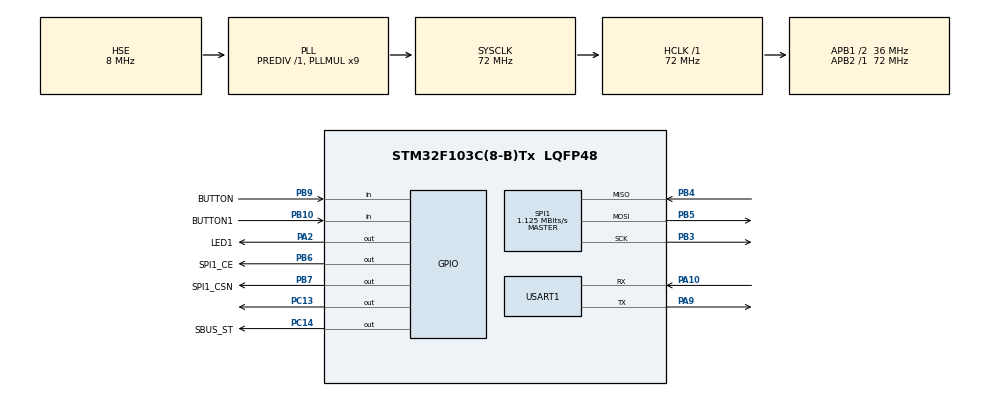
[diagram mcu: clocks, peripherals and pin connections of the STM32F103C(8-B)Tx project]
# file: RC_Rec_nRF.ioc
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Mcu.Family=STM32F1
Mcu.Name=STM32F103C(8-B)Tx
Mcu.Package=LQFP48
NVIC.PriorityGroup=NVIC_PRIORITYGROUP_4
PA10.Mode=Asynchronous
PA10.Signal=USART1_RX
PA13.Mode=Serial_Wire
PA13.Signal=SYS_JTMS-SWDIO
PA14.Mode=Serial_Wire
PA14.Signal=SYS_JTCK-SWCLK
PA2.GPIO_Label=LED1
PA2.Signal=GPIO_Output
PA9.Mode=Asynchronous
PA9.Signal=USART1_TX
PB10.GPIO_Label=BUTTON1
PB10.Signal=GPIO_Input
PB3.Mode=Full_Duplex_Master
PB3.Signal=SPI1_SCK
PB4.Mode=Full_Duplex_Master
PB4.Signal=SPI1_MISO
PB5.Mode=Full_Duplex_Master
PB5.Signal=SPI1_MOSI
PB6.GPIO_Label=SPI1_CE
PB6.Signal=GPIO_Output
PB7.GPIO_Label=SPI1_CSN
PB7.Signal=GPIO_Output
PB9.GPIO_Label=BUTTON
PB9.Signal=GPIO_Input
PC13-TAMPER-RTC.Signal=GPIO_Output
PC14-OSC32_IN.GPIO_Label=SBUS_ST
PC14-OSC32_IN.Signal=GPIO_Output
PD0-OSC_IN.Mode=HSE-External-Oscillator
PD0-OSC_IN.Signal=RCC_OSC_IN
PD1-OSC_OUT.Mode=HSE-External-Oscillator
PD1-OSC_OUT.Signal=RCC_OSC_OUT
ProjectManager.HeapSize=0x200
ProjectManager.StackSize=0x400
ProjectManager.TargetToolchain=STM32CubeIDE
RCC.AHBFreq_Value=72000000
RCC.APB1CLKDivider=RCC_HCLK_DIV2
RCC.APB1Freq_Value=36000000
RCC.APB1TimFreq_Value=72000000
RCC.APB2Freq_Value=72000000
RCC.APB2TimFreq_Value=72000000
RCC.HCLKFreq_Value=72000000
RCC.PLLMUL=RCC_PLL_MUL9
RCC.PLLSourceVirtual=RCC_PLLSOURCE_HSE
RCC.SYSCLKFreq_VALUE=72000000
RCC.SYSCLKSource=RCC_SYSCLKSOURCE_PLLCLK
RCC.USBFreq_Value=72000000
SPI1.BaudRatePrescaler=SPI_BAUDRATEPRESCALER_64
SPI1.CalculateBaudRate=1.125 MBits/s
SPI1.Direction=SPI_DIRECTION_2LINES
SPI1.Mode=SPI_MODE_MASTER
SPI1.VirtualType=VM_MASTER
TIM2.Prescaler=72-1
TIM3.Period=65535-1
TIM3.Prescaler=72-1
USART1.VirtualMode=VM_ASYNC
VP_TIM2_VS_ClockSourceINT.Mode=Internal
VP_TIM3_VS_ClockSourceINT.Mode=Internal
board=custom

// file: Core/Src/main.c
/* USER CODE BEGIN Header */
/**
  ******************************************************************************
  * @file           : main.c
  * @brief          : Main program body
  ******************************************************************************
  * @attention
  *
  * Copyright (c) 2023 STMicroelectronics.
  * All rights reserved.
  *
  * This software is licensed under terms that can be found in the LICENSE file
  * in the root directory of this software component.
  * If no LICENSE file comes with this software, it is provided AS-IS.
  *
  ******************************************************************************
  */
/* USER CODE END Header */
#include "main.h"
#include "spi.h"
#include "tim.h"
#include "usart.h"
#include "gpio.h"

/* USER CODE BEGIN Includes */
#include "MY_NRF24.h"
#include "nRF24L01.h"
#include"stdbool.h"
/* USER CODE END Includes */

/* USER CODE BEGIN PTD */
//Define structure for PWM value from TX
typedef struct{
	uint16_t ch1;
	uint16_t ch2;
	uint16_t ch3;
	uint16_t ch4;

//	uint16_t aux1;
//	uint16_t aux2;
//	uint16_t aux3;

	uint16_t swa;
	uint16_t swb;
//	uint16_t swc;
//	uint16_t swd;
//	uint16_t swe;
//	uint16_t swf;
//	uint16_t swg;
//	uint16_t swh;

}RxBufferTypedef;
/* USER CODE END PTD */

/* USER CODE BEGIN PD */
//IBUS
#define IBUS_FRAME_LENGTH			0x20
#define IBUS_COMMAND_CODE			0x40

//#define SBUS_PACKET_SIZE 25
/* USER CODE END PD */

/* USER CODE BEGIN PV */
uint64_t RxpipeAddrs = 0x11223344AA;
RxBufferTypedef Rx_Data;
uint32_t lastTime = 0;
uint32_t loop_timer;
uint8_t btn_state;
bool Is_Bind = false;
bool Is_NRF_Available = false;
bool myAckPayload = true;

//IBUS
uint8_t ibus_txBuffer[32];
uint8_t checksum[2];
uint8_t ibusEmpty =0;

//SBUS part
//uint8_t sbusBuffer[SBUS_PACKET_SIZE];
//uint16_t pwmValues[Rx_Data];
// uint16_t RxBufferTypedef[15];
//uint16_t pwmValues[16];

/* USER CODE END PV */

void SystemClock_Config(void);
/* USER CODE BEGIN PFP */
long map(long x, long in_min, long in_max, long out_min, long out_max) {
  return (x - in_min) * (out_max - out_min) / (in_max - in_min) + out_min;
}
void delayUs(uint16_t delay){
	__HAL_TIM_SET_COUNTER(&htim2,0);
	while ( __HAL_TIM_GET_COUNTER(&htim2) < delay );
}

void ibus_send(){

	uint16_t check = 0xffff;
	ibus_txBuffer[1] = IBUS_COMMAND_CODE;
	ibus_txBuffer[0] = IBUS_FRAME_LENGTH;

	ibus_txBuffer[3] = Rx_Data.ch1 >> 8;
	ibus_txBuffer[2] = Rx_Data.ch1 & 0x00FF;

	ibus_txBuffer[5] = Rx_Data.ch2 >> 8;
	ibus_txBuffer[4] = Rx_Data.ch2 & 0x00FF;

	ibus_txBuffer[7] = Rx_Data.ch3 >> 8;
	ibus_txBuffer[6] = Rx_Data.ch3 & 0x00FF;

	ibus_txBuffer[9] = Rx_Data.ch4 >> 8;
	ibus_txBuffer[8] = Rx_Data.ch4 & 0x00FF;

	ibus_txBuffer[11] = Rx_Data.swa >> 8;
	ibus_txBuffer[10] = Rx_Data.swa & 0x00FF;

	ibus_txBuffer[13] = Rx_Data.swb >> 8;
	ibus_txBuffer[12] = Rx_Data.swb & 0x0FF;

	ibus_txBuffer[15] = ibusEmpty >> 8;
	ibus_txBuffer[14] = ibusEmpty & 0x00FF;

	ibus_txBuffer[17] = ibusEmpty >> 8;
	ibus_txBuffer[16] = ibusEmpty & 0x00FF;

	ibus_txBuffer[19] = ibusEmpty >> 8;
	ibus_txBuffer[18] = ibusEmpty & 0x00FF;

	ibus_txBuffer[21] = ibusEmpty >> 8;
	ibus_txBuffer[20] = ibusEmpty & 0x00FF;

	ibus_txBuffer[23] = ibusEmpty >> 8;
	ibus_txBuffer[22] = ibusEmpty & 0x00FF;

	ibus_txBuffer[25] = ibusEmpty >> 8;
	ibus_txBuffer[24] = ibusEmpty & 0x00FF;

	ibus_txBuffer[27] = ibusEmpty >> 8;
	ibus_txBuffer[26] = ibusEmpty & 0x00FF;

	ibus_txBuffer[29] = 0x05;
	ibus_txBuffer[28] = 0xDC;

	for (uint8_t i = 0; i<30; i++){
		check = check - ibus_txBuffer[i];
	}
	ibus_txBuffer[31] = check >> 8;
	ibus_txBuffer[30] = check & 0xFFFF;
	HAL_UART_Transmit(&huart1, ibus_txBuffer, sizeof(ibus_txBuffer), 100);

	HAL_Delay(4);
}
void fail_safe (){
  Rx_Data.ch1 = 1500;
  Rx_Data.ch2 = 1500;
  Rx_Data.ch3 = 0; //THR
  Rx_Data.ch4 = 1500;
}
/* USER CODE END PFP */

int main(void)
{

  /* MCU Configuration--------------------------------------------------------*/

  /* Reset of all peripherals, Initializes the Flash interface and the Systick. */
  HAL_Init();

  /* Configure the system clock */
  SystemClock_Config();

  /* Initialize all configured peripherals */
  MX_GPIO_Init();
  MX_SPI1_Init();
  MX_TIM2_Init();
  MX_USART1_UART_Init();
  MX_TIM3_Init();
  /* USER CODE BEGIN 2 */
  //HAL_GPIO_WritePin(GPIOA, GPIO_PIN_9, 1); //SBUS Inverter testing
  btn_state = HAL_GPIO_ReadPin(BUTTON_GPIO_Port, BUTTON_Pin);
    if ( btn_state == 1 ) Is_Bind = true;
    else Is_Bind = false;

    NRF24_begin(SPI1_CSN_GPIO_Port, SPI1_CSN_Pin, SPI1_CE_Pin, hspi1);
    NRF24_setAutoAck(true);
   // NRF24_setChannel(81); //RX1
   // NRF24_setChannel(82); //RX2
   //NRF24_setChannel(83); //RX3
     // NRF24_setChannel(84); //RX4
    //NRF24_setChannel(85); //RX5
   //NRF24_setChannel(86); //RX6
     //NRF24_setChannel(87); //RX7
  // NRF24_setChannel(88); //RX8
    // NRF24_setChannel(89); //RX9
     //NRF24_setChannel(90); //RX10
    NRF24_setChannel(91); //RX
    NRF24_setPayloadSize(14);
    NRF24_openReadingPipe(1, RxpipeAddrs);
    NRF24_enableDynamicPayloads();
    NRF24_enableAckPayload();
    NRF24_startListening();

    HAL_TIM_Base_Start(&htim3);

  /* USER CODE END 2 */

  /* Infinite loop */
  /* USER CODE BEGIN WHILE */
  while (1)
  {

		while (Is_Bind) {
			if (NRF24_available()) {
				NRF24_read(&Rx_Data, sizeof(RxBufferTypedef));
				NRF24_writeAckPayload(1, &myAckPayload, 32);
				Is_Bind = false;
			}

			if (HAL_GetTick() - loop_timer > 100) {
				loop_timer = HAL_GetTick();
				HAL_GPIO_TogglePin(LED1_GPIO_Port, LED1_Pin);
			}
		}

	  	if (HAL_GetTick() - loop_timer > 500) {
			loop_timer = HAL_GetTick();
			HAL_GPIO_TogglePin(LED1_GPIO_Port, LED1_Pin);
		}

		if (NRF24_available()) {
			NRF24_read(&Rx_Data, sizeof(RxBufferTypedef));
			lastTime = HAL_GetTick();
		}
		if ((HAL_GetTick() - lastTime > 500)) {
			fail_safe();
		}

	  	ibus_send();
	  	while ( __HAL_TIM_GET_COUNTER(&htim3) - loop_timer < 1000 )
	  	loop_timer = __HAL_TIM_GET_COUNTER(&htim3);

    /* USER CODE END WHILE */

  }
}

void SystemClock_Config(void)
{
  RCC_OscInitTypeDef RCC_OscInitStruct = {0};
  RCC_ClkInitTypeDef RCC_ClkInitStruct = {0};

  /** Initializes the RCC Oscillators according to the specified parameters
  * in the RCC_OscInitTypeDef structure.
  */
  RCC_OscInitStruct.OscillatorType = RCC_OSCILLATORTYPE_HSE;
  RCC_OscInitStruct.HSEState = RCC_HSE_ON;
  RCC_OscInitStruct.HSEPredivValue = RCC_HSE_PREDIV_DIV1;
  RCC_OscInitStruct.HSIState = RCC_HSI_ON;
  RCC_OscInitStruct.PLL.PLLState = RCC_PLL_ON;
  RCC_OscInitStruct.PLL.PLLSource = RCC_PLLSOURCE_HSE;
  RCC_OscInitStruct.PLL.PLLMUL = RCC_PLL_MUL9;
  if (HAL_RCC_OscConfig(&RCC_OscInitStruct) != HAL_OK)
  {
    Error_Handler();
  }

  /** Initializes the CPU, AHB and APB buses clocks
  */
  RCC_ClkInitStruct.ClockType = RCC_CLOCKTYPE_HCLK|RCC_CLOCKTYPE_SYSCLK
                              |RCC_CLOCKTYPE_PCLK1|RCC_CLOCKTYPE_PCLK2;
  RCC_ClkInitStruct.SYSCLKSource = RCC_SYSCLKSOURCE_PLLCLK;
  RCC_ClkInitStruct.AHBCLKDivider = RCC_SYSCLK_DIV1;
  RCC_ClkInitStruct.APB1CLKDivider = RCC_HCLK_DIV2;
  RCC_ClkInitStruct.APB2CLKDivider = RCC_HCLK_DIV1;

  if (HAL_RCC_ClockConfig(&RCC_ClkInitStruct, FLASH_LATENCY_2) != HAL_OK)
  {
    Error_Handler();
  }
}

void Error_Handler(void)
{
  __disable_irq();
  while (1)
  {
  }
}
